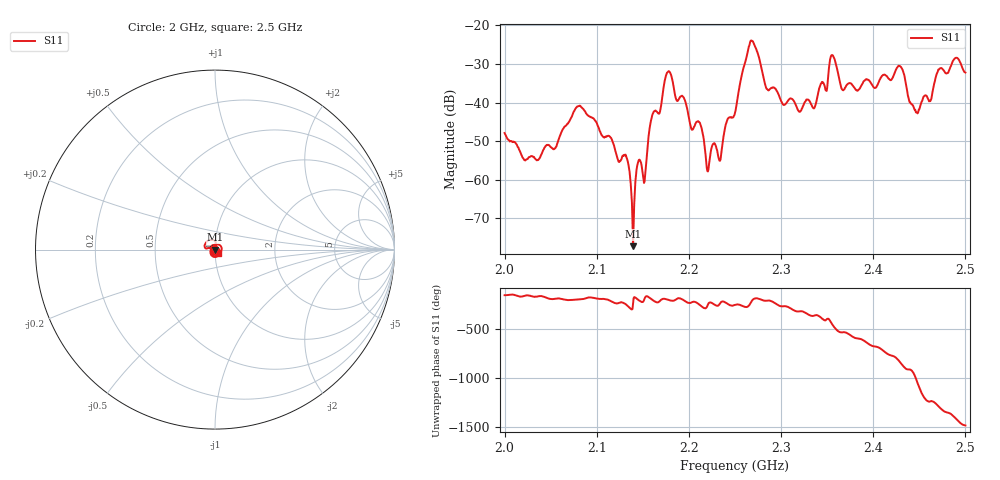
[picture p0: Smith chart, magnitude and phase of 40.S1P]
! C:\Users\rflab\Downloads\dp2_kdzw\40.S1P
! Touchstone 1.1 file saved by VNA.EXE V1.65 (www.ke5fx.com/gpib/readme.htm)
! 12/12/2024 6:50:14 PM
!  Source: HEWLETT PACKARD,8753D,0,6.14
!  Min freq: 2.000000E+009 Hz
!  Max freq: 2.500000E+009 Hz
!  Points: 801
!  Params: S21
# GHZ S MA R 50
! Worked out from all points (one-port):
!   801 points, 2 GHz to 2.5 GHz, reference 50 ohm
!   lowest |S11| = -77.2 dB at 2.139 GHz (marker M1), VSWR 1.00, Z = 50 + j0.0116 ohm
!   |S11| at or under -10 dB: start of sweep to end of sweep
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2  0.004035 -155.2
2.035625  0.001809 -168.5
2.0625  0.004382 165.4
2.0825  0.008949 161.7
2.125  0.001741 128.8
2.133125  0.001823 98.5
2.139375  0.000138 123.0
2.145  0.001714 156.5
2.151875  0.000948 170.1
2.159375  0.006181 164.2
2.175625  0.02334 164.1
2.1875  0.01048 170.4
2.211875  0.005484 104.6
2.220625  0.001284 108.0
2.23375  0.001763 120.7
2.25  0.007342 105.5
2.268125  0.06357 143.2
2.285  0.01492 148.7
2.3125  0.011 57.4
2.33625  0.008582 -2.4
2.355625  0.04125 -95.2
2.36625  0.01478 -175.4
2.375  0.01784 157.0
2.42875  0.02992 -115.0
2.4375  0.01251 166.9
2.4475  0.007383 41.4
2.4725  0.02782 133.6
2.5  0.02453 -45.7
